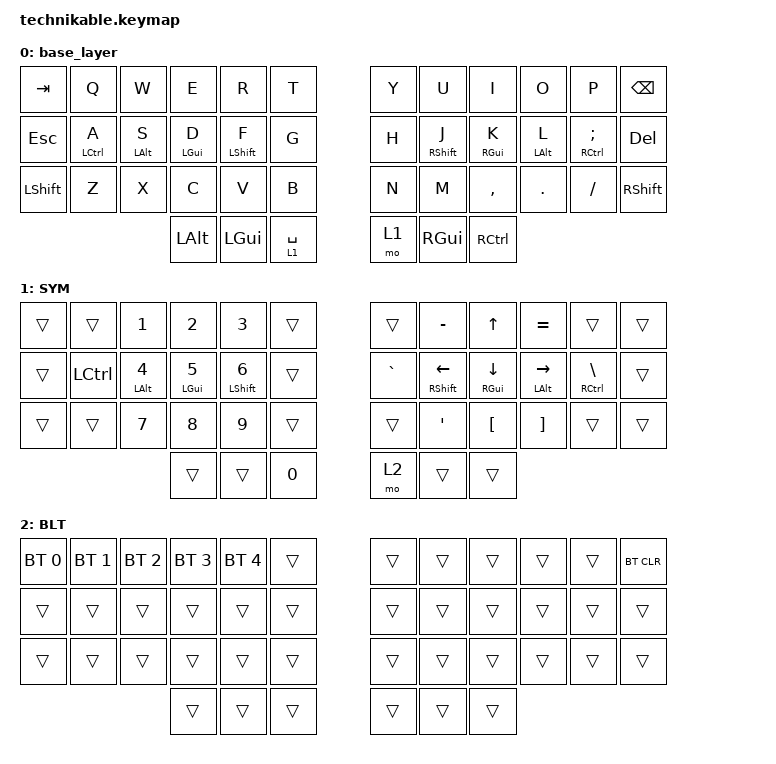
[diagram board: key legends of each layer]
/*
 * Copyright (c) 2022 Pete Johanson
 *
 * SPDX-License-Identifier: MIT
 */

#include <behaviors.dtsi>
#include <dt-bindings/zmk/bt.h>
#include <dt-bindings/zmk/keys.h>

// Using layer taps on thumbs, having quick tap as well helps w/ repeating space/backspace

&lt { quick_tap_ms = <200>; };

/ {
    chosen { zmk,matrix_transform = &dual_2u_transform; };

    conditional_layers { compatible = "zmk,conditional-layers"; };

    combos {
        compatible = "zmk,combos";

        caps_word {
            bindings = <&caps_word>;
            key-positions = <16 19>;
        };

        tab {
            bindings = <&kp TAB>;
            key-positions = <15 16>;
        };

        bspc {
            bindings = <&kp BSPC>;
            key-positions = <20 19>;
        };

        esc {
            bindings = <&kp ESC>;
            key-positions = <14 15 16>;
        };

        ent {
            bindings = <&kp ENTER>;
            key-positions = <20 21 19>;
        };
    };

    behaviors {
        hml: hml {
            compatible = "zmk,behavior-hold-tap";
            label = "HML";
            #binding-cells = <2>;
            flavor = "balanced";
            tapping-term-ms = <200>;
            bindings = <&kp>, <&kp>;

            hold-trigger-key-positions = <7 8 9 10 11 19 20 21 22 23 31 32 33 34 35 42 43 30 18 6 39 40 41>;
        };

        hmr: hmr {
            compatible = "zmk,behavior-hold-tap";
            label = "HMR";
            #binding-cells = <2>;
            flavor = "balanced";
            tapping-term-ms = <200>;
            bindings = <&kp>, <&kp>;

            hold-trigger-key-positions = <4 16 27 28 26 25 24 12 0 1 2 3 15 14 13 36 37 38 5 17 29>;
        };

        /**
         * Temporarily switches to a layer (`&mo`) while a modifier is held.
         * Analogous to QMK's `LM()`, using a parameterized macro.
         *
         * Params:
         *  1. Layer to switch to
         *  2. Modifier to press while layer is active
         *
         * Example:
         *  `&lm NUM_LAYER LSHIFT`
         */

        lm: lm {
            compatible = "zmk,behavior-macro-two-param";
            wait-ms = <0>;
            tap-ms = <0>;
            #binding-cells = <2>;
            bindings =
                <&macro_param_1to1>,
                <&macro_press>,
                <&mo MACRO_PLACEHOLDER &macro_param_2to1>,
                <&macro_press>,
                <&kp MACRO_PLACEHOLDER>,
                <&macro_pause_for_release>,
                <&macro_param_2to1>,
                <&macro_release>,
                <&kp MACRO_PLACEHOLDER &macro_param_1to1>,
                <&macro_release>,
                <&mo MACRO_PLACEHOLDER>;
        };
    };

    macros {
    };

    keymap {
        compatible = "zmk,keymap";

        base_layer {
            bindings = <
&kp TAB    &kp Q         &kp W        &kp E        &kp R         &kp T         &kp Y  &kp U         &kp I        &kp O        &kp P            &kp BSPC
&kp ESC    &hml LCTRL A  &hml LALT S  &hml LGUI D  &hml LSHFT F  &kp G         &kp H  &hmr RSHFT J  &hmr RGUI K  &hmr LALT L  &hmr RCTRL SEMI  &kp DEL
&kp LSHFT  &kp Z         &kp X        &kp C        &kp V         &kp B         &kp N  &kp M         &kp COMMA    &kp DOT      &kp FSLH         &kp RSHFT
                         &kp LALT     &kp LGUI     &lt 1 SPACE          &mo 1         &kp RGUI      &kp RCTRL
            >;
        };

        sym_layer {
            bindings = <
&trans  &trans     &kp N1        &kp N2        &kp N3         &trans         &trans     &kp MINUS              &kp UP          &kp EQUAL        &trans           &trans
&trans  &kp LCTRL  &hml LALT N4  &hml LGUI N5  &hml LSHFT N6  &trans         &kp GRAVE  &hmr RSHFT LEFT_ARROW  &hmr RGUI DOWN  &hmr LALT RIGHT  &hmr RCTRL BSLH  &trans
&trans  &trans     &kp N7        &kp N8        &kp N9         &trans         &trans     &kp SINGLE_QUOTE       &kp LBKT        &kp RBKT         &trans           &trans
                   &trans        &trans        &kp N0                 &mo 2             &trans                 &trans
            >;

            label = "SYM";
        };

        bluetooth_layer {
            bindings = <
&bt BT_SEL 0  &bt BT_SEL 1  &bt BT_SEL 2  &bt BT_SEL 3  &bt BT_SEL 4  &trans          &trans  &trans  &trans  &trans  &trans  &bt BT_CLR
&trans        &trans        &trans        &trans        &trans        &trans          &trans  &trans  &trans  &trans  &trans  &trans
&trans        &trans        &trans        &trans        &trans        &trans          &trans  &trans  &trans  &trans  &trans  &trans
                            &trans        &trans        &trans                &trans          &trans  &trans
            >;

            label = "BLT";
        };
    };
};
